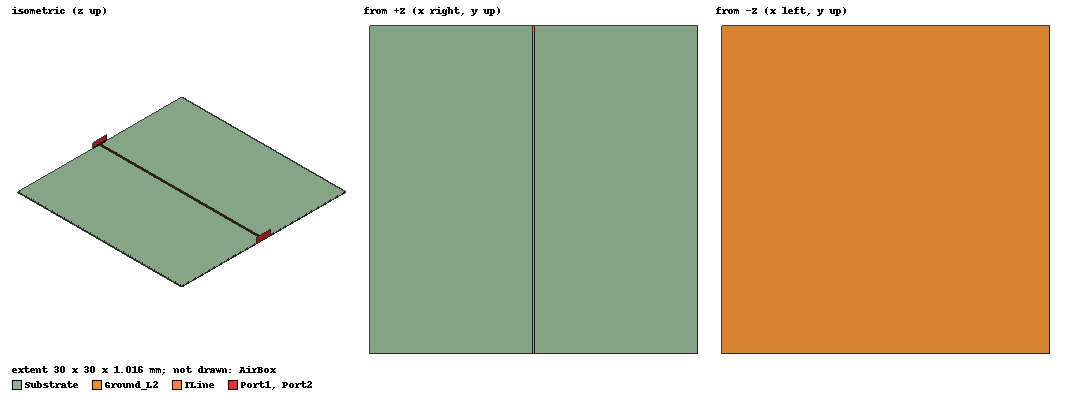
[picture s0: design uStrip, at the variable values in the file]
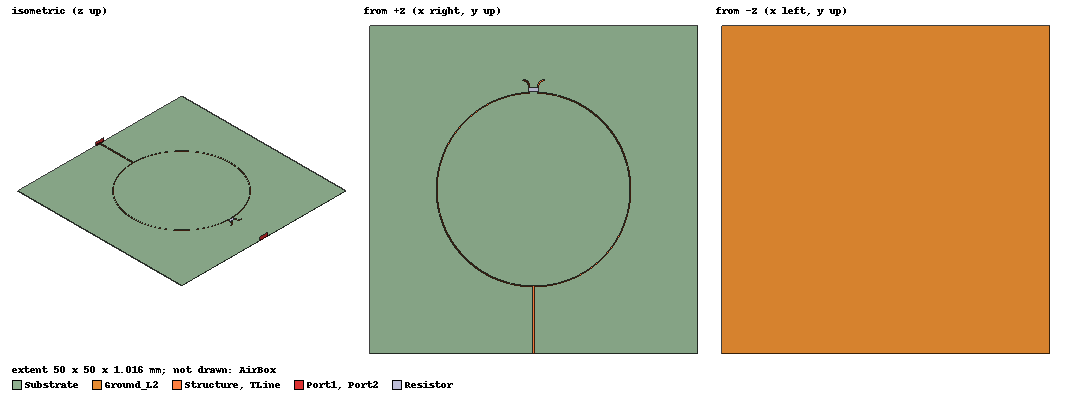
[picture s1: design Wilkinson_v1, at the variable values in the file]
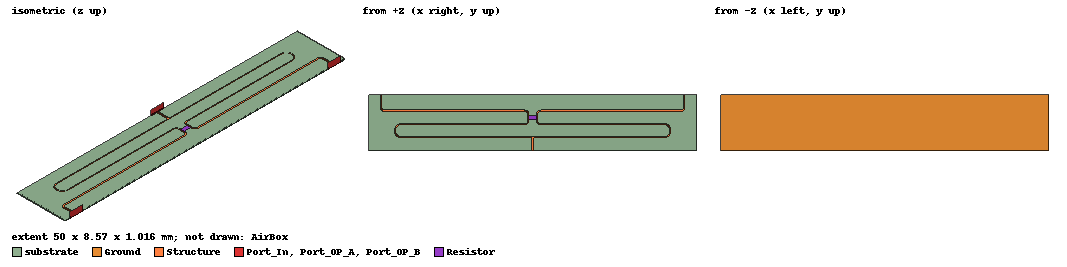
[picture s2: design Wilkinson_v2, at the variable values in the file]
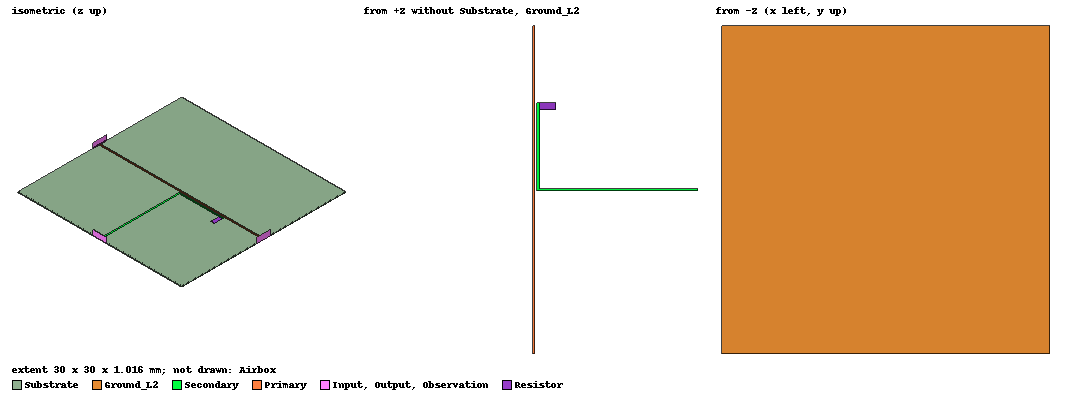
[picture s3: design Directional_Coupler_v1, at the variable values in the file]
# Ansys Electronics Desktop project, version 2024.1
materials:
  vacuum: permittivity=1
  Isola I-Speed (R): permittivity=3.64 dielectric_loss_tangent=0.006

design uStrip (HFSS, HFSS Modal Network, model units mm)
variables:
  substrate = 30mm
  h_L1L2 = 4mil
  uStrip = 9.5mil
  port_width = 10*uStrip
  h_airbox = 20mm
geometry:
  Substrate [Isola I-Speed (R)] = box(corner=(-substrate/2, -substrate/2, 0mm), size=(substrate, substrate, -h_L1L2))
  Ground_L2 = rectangle(corner=(-substrate/2, -substrate/2, -h_L1L2), x_size=substrate, y_size=substrate)
  TLine = rectangle(corner=(-uStrip/2, -substrate/2, 0mm), x_size=uStrip, y_size=substrate)
  Port1 = rectangle(corner=(-port_width/2, -substrate/2, -h_L1L2), z_size=10*h_L1L2, x_size=port_width)
  Port2 = rectangle(corner=(-port_width/2, substrate/2, -h_L1L2), z_size=10*h_L1L2, x_size=port_width)
  AirBox [vacuum] = box(corner=(-substrate/2, -substrate/2, -h_airbox/2), size=(substrate, substrate, h_airbox))
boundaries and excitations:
  Radiation: Radiation Objects=AirBox
  PerfE_Ground_L2: Perfect E Objects=Ground_L2
  PerfE_TLine: Perfect E Objects=TLine
  1: Wave Port Objects=Port1 WavePortType=Modal NumModes=1 Modes{Mode1{IntLine{(0, -15, 0.9144) -> (0, -15, -0.1016)} CharImp=Zpi}}
  2: Wave Port Objects=Port2 WavePortType=Modal NumModes=1 Modes{Mode1{IntLine{(0, 15, 0.9144) -> (0, 15, -0.1016)} CharImp=Zpi}}
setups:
  Setup1: HfssDriven Frequency=5GHz MaxDeltaS=0.01 MaximumPasses=20 MinimumPasses=1 MinimumConvergedPasses=1 PercentRefinement=30 BasisOrder=1 PortAccuracy=2 DrivenSolverType="Direct Solver"
    sweep Sweep: 2.5GHz to 7.5GHz, 401 points; Type=Interpolating InterpTolerance=0.5 InterpMaxSolns=250 InterpUsePortImped=false PassivityErrorTolerance=0.0001
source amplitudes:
  1:1: 1W 0deg
  2:1: 0W 0deg
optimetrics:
  ParametricSetup1: Parametric Sim._Setups=[Setup1]
    sweep uStrip: LIN 4mil 20mil 0.5mil
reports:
  S Parameter: dB(S(1,1)), dB(S(2,1)) vs Freq on Setup1 : Sweep
  Port Zo: re(Zo(1)) vs Freq on Setup1 : Sweep [uStrip=all]

design Wilkinson_v1 (HFSS, HFSS Modal Network, model units mm)
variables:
  substrate = 50mm
  h_L1L2 = 4mil
  uStrip = 9.5mil
  port_width = 10*uStrip
  h_airbox = 20mm
  arc_radius = 14.7mm
  uStrip70_width = 5.5mil
  res0402pad_pitch = 1.5mm
  stub_70ohm_length = 1mm
  res0402pad_width = 0.65mm
  bend_radius = 1mm
  mask = bend_radius + uStrip/2
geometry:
  Substrate [Isola I-Speed (R)] = box(corner=(-substrate/2, -substrate/2, 0mm), size=(substrate, substrate, -h_L1L2))
  Ground_L2 = rectangle(corner=(-substrate/2, -substrate/2, -h_L1L2), x_size=substrate, y_size=substrate)
  TLine = rectangle(corner=(-uStrip/2, -substrate/2, 0mm), x_size=uStrip, y_size=substrate/2 - arc_radius)
  Port1 = rectangle(corner=(-port_width/2, -substrate/2, -h_L1L2), z_size=10*h_L1L2, x_size=port_width)
  Port2 = rectangle(corner=(-port_width/2, substrate/2, -h_L1L2), z_size=10*h_L1L2, x_size=port_width)
  AirBox [vacuum] = box(corner=(-substrate/2, -substrate/2, -h_airbox/2), size=(substrate, substrate, h_airbox))
  Structure = circle(normal=Z, centre=(0mm, 0mm, 0mm), radius=arc_radius + uStrip70_width)
  Circle2 = circle(normal=Z, centre=(0mm, 0mm, 0mm), radius=arc_radius)
  Structure.subtract(Circle2)
  Rectangle1 = rectangle(corner=(-res0402pad_pitch/2 + uStrip70_width, 0mm, 0mm), x_size=res0402pad_pitch - 2*uStrip70_width, y_size=arc_radius+uStrip70_width)
  Structure.subtract(Rectangle1)
  Rectangle2 = rectangle(corner=(-res0402pad_pitch/2, arc_radius, 0mm), x_size=uStrip70_width, y_size=stub_70ohm_length)
  Rectangle2_1 = Rectangle2.duplicate_around_axis(axis=Y, angle=180deg, total=2)
  Rectangle2.unite(Rectangle2_1)
  Resistor = rectangle(corner=(-res0402pad_pitch/2, -res0402pad_width/2 + arc_radius + stub_70ohm_length/2, 0mm), x_size=res0402pad_pitch, y_size=res0402pad_width)
  Circle3 = circle(normal=Z, centre=(0mm, 0mm, 0mm), radius=bend_radius - uStrip/2)
  Bend = circle(normal=Z, centre=(0mm, 0mm, 0mm), radius=bend_radius + uStrip/2)
  Bend.subtract(Circle3)
  Mask = rectangle(corner=(0, 0, 0), x_size=mask, y_size=mask)
  Bend.intersect(Mask)
  Bend.move(-bend_radius  - res0402pad_pitch/2 + uStrip70_width/2, arc_radius + stub_70ohm_length, 0mm)
  Structure.unite(Rectangle2)
  Bend_1 = Bend.duplicate_mirror(point=(0mm, 0mm, 0mm), normal=(1mm, 0mm, 0mm))
  Bend.unite(Bend_1)
  Structure.unite(Bend)
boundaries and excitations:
  Radiation: Radiation Objects=AirBox
  PerfE_Ground_L2: Perfect E Objects=Ground_L2
  PerfE_TLine: Perfect E Objects=TLine
  1: Wave Port Objects=Port1 WavePortType=Modal NumModes=1 Modes{Mode1{IntLine{(0, -25, 0.9144) -> (0, -25, -0.1016)} CharImp=Zpi}}
  2: Wave Port Objects=Port2 WavePortType=Modal NumModes=1 Modes{Mode1{IntLine{(0, 25, 0.9144) -> (0, 25, -0.1016)} CharImp=Zpi}}
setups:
  Setup1: HfssDriven Frequency=5GHz MaxDeltaS=0.01 MaximumPasses=20 MinimumPasses=1 MinimumConvergedPasses=1 PercentRefinement=30 BasisOrder=1 PortAccuracy=2 DrivenSolverType="Direct Solver"
    sweep Sweep: 2.5GHz to 7.5GHz, 401 points; Type=Interpolating InterpTolerance=0.5 InterpMaxSolns=250 InterpUsePortImped=false PassivityErrorTolerance=0.0001
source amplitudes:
  1:1: 1W 0deg
  2:1: 0W 0deg
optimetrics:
  ParametricSetup1: Parametric Sim._Setups=[Setup1]
    sweep uStrip: LIN 4mil 20mil 0.5mil
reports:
  S Parameter: dB(S(1,1)), dB(S(2,1)) vs Freq on Setup1 : Sweep
  Port Zo: re(Zo(1)) vs Freq on Setup1 : Sweep [uStrip=all]

design Wilkinson_v2 (HFSS, HFSS Modal Network, model units mm)
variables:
  substrate_x = 50mm
  substrate_y = uStrip50_stub_length+uStrip_spacing+uStrip70_width/2+bend_radius+uStrip70_stub_length+bend_radius+bend_radius+uStrip50_stub_length
  h_L1L2 = 4mil
  uStrip50_width = 9.5mil
  uStrip50_stub_length = 2mm
  res0402_length = 1.5mm
  res0402_width = 0.65mm
  length_x = 40mm
  uStrip_spacing = 2mm
  uStrip70_width = 5.5mil
  bend_radius = 0.5mm
  uStrip70_stub_length = 1mm
  channel_pitch = 46.15mm
  substrate = 0
  port_width = 10*uStrip50_width
  h_airbox = 10mm
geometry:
  substrate [Isola I-Speed (R)] = box(corner=(-substrate_x/2, 0mm, 0mm), size=(substrate_x, substrate_y, -h_L1L2))
  TLine = rectangle(corner=(-uStrip50_width/2, 0mm, 0mm), x_size=uStrip50_width, y_size=uStrip50_stub_length)
  Resistor = rectangle(corner=(uStrip70_width, 0, 0), x_size=res0402_length-2*uStrip70_width, y_size=res0402_width)
  Structure = rectangle(corner=(-length_x/2, uStrip50_stub_length, 0mm), x_size=length_x, y_size=uStrip70_width)
  Circle70_spacing [non-model] = circle(normal=Z, centre=(0mm, 0mm, 0mm), radius=0.5*uStrip_spacing + uStrip70_width/2)
  Circle2 = circle(normal=Z, centre=(0mm, 0mm, 0mm), radius=0.5*uStrip_spacing - uStrip70_width/2)
  Circle70_spacing.subtract(Circle2)
  Rectangle2 = rectangle(corner=(-length_x/2, uStrip50_stub_length + uStrip_spacing, 0mm), x_size=length_x/2 - bend_radius - res0402_length/2 + uStrip70_width/2, y_size=uStrip70_width)
  Circle3 = circle(normal=Z, centre=(0mm, 0mm, 0mm), radius=bend_radius - uStrip70_width/2)
  Circle70_bend [non-model] = circle(normal=Z, centre=(0mm, 0mm, 0mm), radius=bend_radius+ uStrip70_width/2)
  Circle70_bend.subtract(Circle3)
  mask1 = rectangle(corner=(0mm, 0mm, 0mm), x_size=bend_radius + uStrip70_width/2, y_size=-(bend_radius + uStrip70_width/2))
  Circle5 = circle(normal=Z, centre=(0mm, 0mm, 0mm), radius=bend_radius+ uStrip70_width/2)
  Circle6 = circle(normal=Z, centre=(0mm, 0mm, 0mm), radius=bend_radius - uStrip70_width/2)
  Circle5.subtract(Circle6)
  Circle5.intersect(mask1)
  Circle5.move(uStrip70_width/2 -res0402_length/2-bend_radius, uStrip50_stub_length + bend_radius + uStrip70_width/2 + uStrip_spacing, 0mm)
  mask = rectangle(corner=(0mm, -uStrip_spacing/2 - uStrip70_width/2, 0mm), x_size=-uStrip_spacing, y_size=uStrip_spacing+uStrip70_width)
  Circle7 = circle(normal=Z, centre=(0mm, 0mm, 0mm), radius=0.5*uStrip_spacing + uStrip70_width/2)
  Circle8 = circle(normal=Z, centre=(0mm, 0mm, 0mm), radius=0.5*uStrip_spacing - uStrip70_width/2)
  Circle7.subtract(Circle8)
  Circle7.intersect(mask)
  Circle7.move(-length_x/2, uStrip50_stub_length + uStrip_spacing/2 + uStrip70_width/2, 0mm)
  Rectangle3 = rectangle(corner=(0mm, 0mm, 0mm), x_size=uStrip70_width, y_size=uStrip70_stub_length)
  [Rectangle3, Resistor].move(-res0402_length/2, uStrip50_stub_length + uStrip_spacing + bend_radius + uStrip70_width/2, 0mm)
  Resistor.move(0mm, (uStrip70_stub_length - res0402_width)/2, 0mm)
  Circle_50_bend [non-model] = circle(normal=Z, centre=(0mm, 0mm, 0mm), radius=bend_radius + uStrip50_width/2)
  Circle_50_bend_inner = circle(normal=Z, centre=(0mm, 0mm, 0mm), radius=bend_radius - uStrip50_width/2)
  Circle_50_bend.subtract(Circle_50_bend_inner)
  Left_Arm = circle(normal=Z, centre=(0mm, 0mm, 0mm), radius=bend_radius + uStrip50_width/2)
  Circle_50_bend_inner1 = circle(normal=Z, centre=(0mm, 0mm, 0mm), radius=bend_radius - uStrip50_width/2)
  Left_Arm.subtract(Circle_50_bend_inner1)
  mask_1 = rectangle(corner=(0mm, 0mm, 0mm), x_size=bend_radius + uStrip50_width/2, y_size=bend_radius + uStrip50_width/2)
  Left_Arm.intersect(mask_1)
  Left_Arm.move(-res0402_length/2 - bend_radius + uStrip70_width/2, uStrip50_stub_length + uStrip_spacing + bend_radius + uStrip70_width/2 + uStrip70_stub_length, 0mm)
  bend2 = circle(normal=Z, centre=(0mm, 0mm, 0mm), radius=bend_radius + uStrip50_width/2)
  Circle_50_bend_inner2 = circle(normal=Z, centre=(0mm, 0mm, 0mm), radius=bend_radius - uStrip50_width/2)
  bend2.subtract(Circle_50_bend_inner2)
  mask_2 = rectangle(corner=(0mm, 0mm, 0mm), x_size=-(bend_radius + uStrip50_width/2), y_size=-(bend_radius + uStrip50_width/2))
  bend2.intersect(mask_2)
  bend2.move(bend_radius - channel_pitch/2, uStrip50_stub_length + uStrip_spacing + uStrip70_width/2 + bend_radius + uStrip70_stub_length +2* bend_radius, 0mm)
  Rectangle4 = rectangle(corner=(0mm, 0mm, 0mm), x_size=-channel_pitch/2 + res0402_length/2 - uStrip70_width/2+bend_radius+bend_radius, y_size=uStrip50_width)
  Rectangle4.move(-bend_radius+ uStrip70_width/2 -res0402_length/2, uStrip50_stub_length + uStrip_spacing + uStrip70_width/2 + bend_radius + uStrip70_stub_length + bend_radius - uStrip50_width/2, 0mm)
  output1 = rectangle(corner=(0mm, 0mm, 0mm), x_size=uStrip50_width, y_size=uStrip50_stub_length)
  output1.move(-uStrip50_width/2 -channel_pitch/2, uStrip50_stub_length + uStrip_spacing +uStrip70_width/2 +bend_radius+ uStrip70_stub_length + bend_radius+bend_radius, 0mm)
  Left_Arm.unite(bend2, Circle5, Circle7, output1, Rectangle2, Rectangle3, Rectangle4)
  Right_Arm = Left_Arm.duplicate_mirror(point=(0mm, 0mm, 0mm), normal=(1mm, 0mm, 0mm))
  Structure.unite(Left_Arm, Right_Arm, TLine)
  Port_In = rectangle(corner=(-port_width/2, 0mm, -h_L1L2), z_size=10*h_L1L2, x_size=port_width)
  Port_OP_A = rectangle(corner=(-port_width/2 - channel_pitch/2, substrate_y, -h_L1L2), z_size=10*h_L1L2, x_size=port_width)
  Port_OP_B = rectangle(corner=(-port_width/2 + channel_pitch/2, substrate_y, -h_L1L2), z_size=10*h_L1L2, x_size=port_width)
  AirBox [vacuum] = box(corner=(-substrate_x/2, 0mm, -h_airbox/2), size=(substrate_x, substrate_y, h_airbox))
  Ground = rectangle(corner=(-substrate_x/2, 0mm, -h_L1L2), x_size=substrate_x, y_size=substrate_y)
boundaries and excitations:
  LumpRLC1: Lumped RLC Objects=Resistor CurrentLine{(-0.6103, 5.06985, 0) -> (0.6103, 5.06985, 0)} RLC_Type=Parallel Resistance=100ohm
  PerfE_Ground: Perfect E Objects=Ground
  PerfE_Structure: Perfect E Objects=Structure
  Radiation: Radiation Objects=AirBox
  1: Wave Port Objects=Port_In WavePortType=Modal NumModes=1 Modes{Mode1{IntLine{(0, 0, -0.1016) -> (0, 0, 0.9144)} CharImp=Zpi}}
  2: Wave Port Objects=Port_OP_A WavePortType=Modal NumModes=1 Modes{Mode1{IntLine{(-23.075, 8.56985, -0.1016) -> (-23.075, 8.56985, 0.9144)} CharImp=Zpi}}
  3: Wave Port Objects=Port_OP_B WavePortType=Modal NumModes=1 Modes{Mode1{IntLine{(23.075, 8.56985, -0.1016) -> (23.075, 8.56985, 0.9144)} CharImp=Zpi}}
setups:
  Setup1: HfssDriven Frequency=5GHz MaxDeltaS=0.01 MaximumPasses=20 MinimumPasses=1 MinimumConvergedPasses=1 PercentRefinement=30 BasisOrder=1 PortAccuracy=2 DrivenSolverType="Direct Solver"
    sweep Sweep: 2GHz to 6GHz, 401 points; Type=Interpolating InterpTolerance=0.5 InterpMaxSolns=250 InterpUsePortImped=false PassivityErrorTolerance=0.0001
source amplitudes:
  1:1: 1W 0deg
  2:1, 3:1: 0W 0deg
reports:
  S Parameter Plot 1: dB(S(1,1)), dB(S(1,2)), dB(S(1,3)), dB(S(2,3)) vs Freq on Setup1 : Sweep
  S Parameter Plot 2: ang_deg(S(1,2)), ang_deg(S(1,3)) vs Freq on Setup1 : Sweep

design Directional_Coupler_v1 (HFSS, HFSS Modal Network, model units mm)
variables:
  substrate = 30mm
  h_L1L2 = 4mil
  uStrip_width = 9.5mil
  secondary_length = 8mm
  coupler_gap = 0.4mm
  res0402_len = 1.5mm
  res0402_width = 0.65mm
  h_airbox = 10mm
  port_width = 10*uStrip_width
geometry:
  Substrate [Isola I-Speed (R)] = box(corner=(-substrate/2, -substrate/2, 0mm), size=(substrate, substrate, -h_L1L2))
  Ground_L2 = rectangle(corner=(-substrate/2, -substrate/2, -h_L1L2), x_size=substrate, y_size=substrate)
  Primary = rectangle(corner=(-uStrip_width/2, -substrate/2, 0mm), x_size=uStrip_width, y_size=substrate)
  Secondary = rectangle(corner=(-uStrip_width/2 + coupler_gap, 0, 0mm), x_size=uStrip_width, y_size=secondary_length)
  Rectangle1 = rectangle(corner=(coupler_gap - uStrip_width/2, -uStrip_width/2, 0mm), x_size=substrate/2 - coupler_gap+uStrip_width/2, y_size=uStrip_width)
  Resistor = rectangle(corner=(coupler_gap + uStrip_width/2, secondary_length, 0mm), x_size=res0402_len, y_size=-res0402_width)
  Resistor_Ground = rectangle(corner=(coupler_gap + uStrip_width/2 + res0402_len, secondary_length, 0mm), y_size=-res0402_width, z_size=-h_L1L2)
  Airbox [vacuum] = box(corner=(-substrate/2, -substrate/2, -h_airbox/2), size=(substrate, substrate, h_airbox))
  Input = rectangle(corner=(-port_width/2, -substrate/2, -h_L1L2), z_size=10*h_L1L2, x_size=port_width)
  Output = rectangle(corner=(-port_width/2, substrate/2, -h_L1L2), z_size=10*h_L1L2, x_size=port_width)
  Observation = rectangle(corner=(substrate/2, -port_width/2, -h_L1L2), y_size=port_width, z_size=10*h_L1L2)
  Secondary.unite(Rectangle1)
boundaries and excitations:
  LumpRLC1: Lumped RLC Objects=Resistor CurrentLine{(0.52065, 7.675, 0) -> (2.02065, 7.675, 0)} RLC_Type=Parallel Resistance=50ohm
  PerfE_Ground_L2: Perfect E Objects=Ground_L2
  PerfE_Primary: Perfect E Objects=Primary
  PerfE_Secondary: Perfect E Objects=Secondary
  PerfE_Resistor_Ground: Perfect E Objects=Resistor_Ground
  Radiation: Radiation Objects=Airbox
  1: Wave Port Objects=Input WavePortType=Modal NumModes=1 Modes{Mode1{IntLine{(0, -15, 0.9144) -> (0, -15, -0.1016)} CharImp=Zpi}}
  2: Wave Port Objects=Output WavePortType=Modal NumModes=1 Modes{Mode1{IntLine{(0, 15, 0.9144) -> (0, 15, -0.1016)} CharImp=Zpi}}
  3: Wave Port Objects=Observation WavePortType=Modal NumModes=1 Modes{Mode1{IntLine{(15, 0, 0.9144) -> (15, 0, -0.1016)} CharImp=Zpi}}
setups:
  Setup1: HfssDriven Frequency=5GHz MaxDeltaS=0.02 MaximumPasses=16 MinimumPasses=1 MinimumConvergedPasses=1 PercentRefinement=30 BasisOrder=1 PortAccuracy=2 DrivenSolverType="Direct Solver"
    sweep Sweep: 2GHz to 6GHz, 401 points; Type=Interpolating InterpTolerance=0.5 InterpMaxSolns=250 InterpUsePortImped=false PassivityErrorTolerance=0.0001
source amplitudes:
  1:1, 2:1: 1W 0deg
  3:1: 0W 0deg
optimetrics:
  ParametricSetup1: Parametric disabled Sim._Setups=[Setup1]
    sweep secondary_length: LIN 6mm 14mm 1mm
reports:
  Return Loss: dB(S(1,1)) vs Freq on Setup1 : Sweep [secondary_length=all]
  Coupling: dB(S(1,3)) vs Freq on Setup1 : Sweep [secondary_length=all]
  Insertion Loss: dB(S(1,2)) vs Freq on Setup1 : Sweep [secondary_length=all]
  S Parameter Plot 1: dB(S(1,1)), dB(S(2,1)), dB(S(3,1)) vs Freq on Setup1 : Sweep
